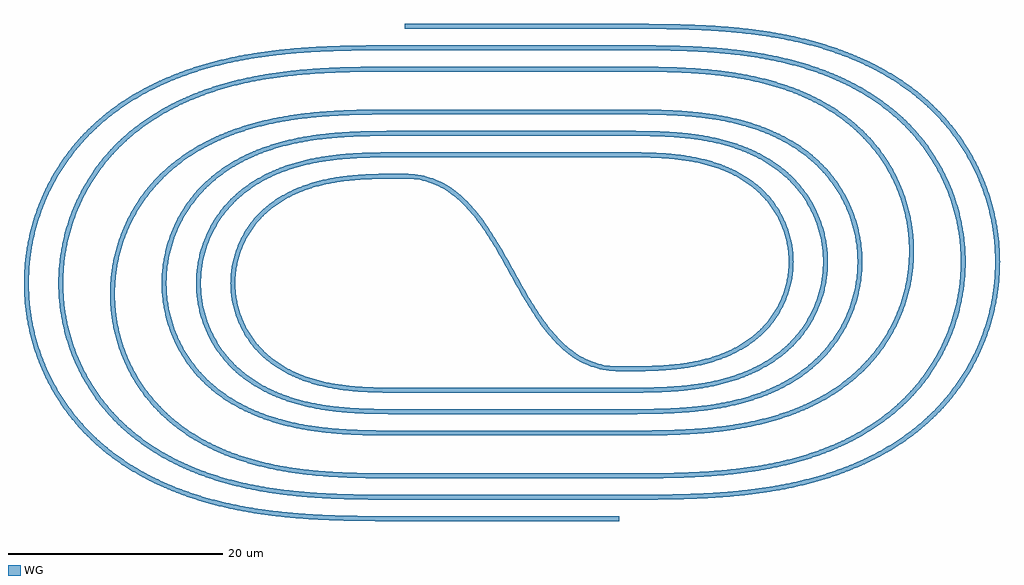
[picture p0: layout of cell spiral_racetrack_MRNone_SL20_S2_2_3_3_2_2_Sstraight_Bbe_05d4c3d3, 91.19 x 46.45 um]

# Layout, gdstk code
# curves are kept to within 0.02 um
from math import pi, radians
import gdstk
lib = gdstk.Library(unit=1e-6, precision=1e-09)
def R(c, l, rs):  # rectangles x0, y0, x1, y1
    for r in rs: c.add(gdstk.rectangle(r[:2], r[2:], *l))
def P(c, l, *ps):  # polygons
    for p in ps: c.add(gdstk.Polygon(p, *l))
WG = (3, 0)

bend_s_s20_m18_csstrip_w = lib.new_cell('bend_s_S20_m18_CSstrip_WNone_AMRVFalse')
P(bend_s_s20_m18_csstrip_w, WG, [(20,-18.225),(19.383,-18.202),(18.502,-18.085),(17.943,-17.955),(17.146,-17.685),(16.64,-17.458),(15.919,-17.054),(15.241,-16.58),(14.6,-16.041),(13.995,-15.445),(13.421,-14.798),(12.874,-14.108),(12.181,-13.129),(11.041,-11.298),(8.882,-7.467),(7.936,-5.879),(6.939,-4.396),(6.414,-3.71),(5.866,-3.068),(5.293,-2.476),(4.692,-1.942),(4.059,-1.469),(3.392,-1.064),(2.441,-0.639),(1.678,-0.413),(0.865,-0.273),(0,-0.225),(0,0.225),(0.617,0.202),(1.498,0.085),(2.057,-0.045),(2.854,-0.315),(3.36,-0.542),(4.081,-0.946),(4.759,-1.42),(5.4,-1.959),(6.005,-2.555),(6.579,-3.202),(7.126,-3.892),(7.819,-4.871),(8.959,-6.702),(11.118,-10.533),(12.064,-12.121),(13.061,-13.604),(13.586,-14.29),(14.134,-14.932),(14.707,-15.524),(15.308,-16.058),(15.941,-16.531),(16.608,-16.936),(17.559,-17.361),(18.322,-17.587),(19.135,-17.727),(20,-17.775)])

bend_euler_r10_a180_p0p5 = lib.new_cell('bend_euler_R10_A180_P0p5_WNone_CSstrip_AMRVFalse')
P(bend_euler_r10_a180_p0p5, WG, [(0,-0.225),(0,0.225),(2.605,0.248),(4.333,0.33),(6.047,0.513),(7.569,0.794),(8.564,1.057),(9.696,1.451),(10.784,1.947),(11.669,2.46),(12.498,3.055),(13.377,3.855),(14.141,4.764),(14.777,5.767),(15.273,6.846),(15.58,7.816),(15.774,8.815),(15.853,10),(15.774,11.185),(15.58,12.184),(15.273,13.154),(14.777,14.233),(14.141,15.236),(13.377,16.145),(12.498,16.945),(11.669,17.54),(10.784,18.053),(9.696,18.549),(8.564,18.943),(7.569,19.206),(6.047,19.487),(4.333,19.67),(2.605,19.752),(0,19.775),(0,20.225),(2.267,20.21),(4.191,20.131),(5.763,19.98),(7.153,19.755),(8.694,19.374),(9.863,18.967),(10.991,18.452),(12.061,17.821),(12.917,17.184),(13.576,16.584),(14.176,15.924),(14.709,15.21),(15.256,14.291),(15.628,13.481),(15.921,12.639),(16.133,11.773),(16.261,10.89),(16.303,10),(16.261,9.11),(16.133,8.227),(15.921,7.361),(15.628,6.519),(15.256,5.709),(14.709,4.79),(14.176,4.076),(13.701,3.543),(13.053,2.931),(12.354,2.381),(11.611,1.894),(10.833,1.467),(10.027,1.1),(9.199,0.788),(8.354,0.529),(7.498,0.317),(6.633,0.149),(5.414,-0.022),(4.365,-0.119),(2.966,-0.192)])

straight_l20_csstrip_wno = lib.new_cell('straight_L20_CSstrip_WNone_N2')
R(straight_l20_csstrip_wno, WG, [(0,-0.225,20,0.225)])

bend_euler_r12_a180_p0p5 = lib.new_cell('bend_euler_R12_A180_P0p5_WNone_CSstrip_AMRVFalse')
P(bend_euler_r12_a180_p0p5, WG, [(0,-0.225),(0,0.225),(3.108,0.252),(5.171,0.349),(7.05,0.541),(8.905,0.867),(10.393,1.257),(11.681,1.711),(12.921,2.276),(13.954,2.867),(15.058,3.657),(15.573,4.098),(16.061,4.571),(16.521,5.078),(16.948,5.613),(17.34,6.175),(17.695,6.76),(18.011,7.367),(18.288,7.993),(18.525,8.635),(18.72,9.291),(18.872,9.959),(18.981,10.634),(19.047,11.316),(19.069,12),(19.047,12.684),(18.981,13.366),(18.872,14.041),(18.72,14.709),(18.525,15.365),(18.288,16.007),(18.011,16.633),(17.695,17.24),(17.34,17.825),(16.948,18.387),(16.521,18.922),(16.061,19.429),(15.573,19.902),(15.058,20.343),(13.954,21.133),(12.921,21.724),(11.681,22.289),(10.393,22.743),(8.905,23.133),(7.05,23.459),(5.171,23.651),(3.108,23.748),(0,23.775),(0,24.225),(2.773,24.206),(5.03,24.112),(6.937,23.928),(8.66,23.645),(10.358,23.223),(11.848,22.706),(12.653,22.357),(13.282,22.043),(14.49,21.32),(15.34,20.693),(16.134,19.993),(16.979,19.077),(17.619,18.22),(18.173,17.305),(18.706,16.176),(19.059,15.166),(19.314,14.127),(19.467,13.069),(19.519,12),(19.467,10.931),(19.314,9.873),(19.059,8.834),(18.706,7.824),(18.173,6.695),(17.619,5.78),(16.979,4.923),(16.385,4.258),(15.612,3.532),(14.922,2.984),(13.895,2.302),(12.97,1.796),(12.011,1.36),(11.026,0.989),(10.021,0.68),(8.831,0.391),(7.801,0.198),(6.418,0.01),(5.204,-0.1),(3.814,-0.176)])

bend_euler_r14_a180_p0p5 = lib.new_cell('bend_euler_R14_A180_P0p5_WNone_CSstrip_AMRVFalse')
P(bend_euler_r14_a180_p0p5, WG, [(0,-0.225),(0,0.225),(3.611,0.256),(6.01,0.368),(8.223,0.593),(9.237,0.748),(10.41,0.978),(12.059,1.407),(13.665,1.971),(15.058,2.605),(16.382,3.366),(17.081,3.846),(17.749,4.366),(18.382,4.928),(18.865,5.411),(19.324,5.924),(19.857,6.6),(20.343,7.31),(20.695,7.902),(21.015,8.512),(21.366,9.298),(21.662,10.106),(21.859,10.766),(22.053,11.604),(22.189,12.454),(22.255,13.14),(22.284,14),(22.255,14.86),(22.189,15.546),(22.053,16.396),(21.859,17.234),(21.662,17.894),(21.366,18.702),(21.015,19.488),(20.695,20.098),(20.343,20.69),(19.857,21.4),(19.324,22.076),(18.865,22.589),(18.382,23.072),(17.749,23.634),(17.081,24.154),(16.382,24.634),(15.058,25.395),(13.665,26.029),(12.059,26.593),(10.41,27.022),(9.237,27.252),(8.223,27.407),(6.01,27.632),(3.611,27.744),(0,27.775),(0,28.225),(3.277,28.202),(5.869,28.093),(8.111,27.876),(9.996,27.569),(11.015,27.344),(12.023,27.073),(13.671,26.511),(14.476,26.173),(15.417,25.716),(16.18,25.289),(16.917,24.82),(18.037,23.98),(18.943,23.154),(19.782,22.23),(20.528,21.229),(21.174,20.161),(21.715,19.036),(22.144,17.864),(22.459,16.657),(22.656,15.424),(22.733,14.178),(22.69,12.931),(22.612,12.222),(22.494,11.518),(22.196,10.306),(21.783,9.128),(21.258,7.996),(20.528,6.771),(19.782,5.77),(19.068,4.973),(18.171,4.133),(17.346,3.482),(16.329,2.802),(15.262,2.204),(14.156,1.687),(12.853,1.19),(11.688,0.831),(10.167,0.466),(8.799,0.221),(7.423,0.043),(5.869,-0.093),(4.141,-0.179)])

bend_euler_r17_a180_p0p5 = lib.new_cell('bend_euler_R17_A180_P0p5_WNone_CSstrip_AMRVFalse')
P(bend_euler_r17_a180_p0p5, WG, [(0,-0.225),(0,0.225),(3.981,0.253),(7.087,0.384),(8.463,0.496),(9.833,0.651),(11.195,0.856),(12.378,1.082),(14.379,1.58),(15.363,1.888),(16.331,2.238),(17.125,2.563),(18.058,2.995),(18.967,3.474),(19.849,4.002),(20.698,4.579),(21.51,5.205),(22.281,5.881),(23.006,6.605),(23.68,7.377),(24.201,8.053),(24.775,8.902),(25.209,9.637),(25.601,10.396),(26.014,11.333),(26.363,12.296),(26.647,13.281),(26.832,14.114),(26.992,15.126),(27.084,16.147),(27.108,17),(27.084,17.853),(26.992,18.874),(26.832,19.886),(26.647,20.719),(26.363,21.704),(26.014,22.667),(25.601,23.604),(25.209,24.363),(24.775,25.098),(24.201,25.947),(23.68,26.623),(23.006,27.395),(22.281,28.119),(21.51,28.795),(20.698,29.421),(19.849,29.998),(18.967,30.526),(18.058,31.005),(17.125,31.437),(16.331,31.762),(15.363,32.112),(14.379,32.42),(12.378,32.918),(11.195,33.144),(9.833,33.349),(8.463,33.504),(7.087,33.616),(3.981,33.747),(0,33.775),(0,34.225),(3.991,34.197),(7.118,34.065),(9.545,33.839),(10.754,33.672),(12.129,33.429),(13.323,33.166),(14.505,32.852),(15.672,32.482),(16.656,32.118),(17.624,31.708),(18.57,31.25),(19.492,30.743),(20.385,30.186),(21.66,29.254),(22.843,28.205),(23.917,27.043),(24.868,25.78),(25.603,24.581),(26.297,23.159),(26.62,22.342),(26.844,21.675),(27.083,20.829),(27.239,20.144),(27.392,19.278),(27.478,18.58),(27.557,17.176),(27.495,15.595),(27.392,14.722),(27.274,14.029),(26.896,12.493),(26.62,11.658),(26.365,11.003),(25.687,9.574),(24.868,8.22),(24.029,7.092),(23.214,6.17),(22.198,5.198),(20.962,4.214),(19.643,3.346),(18.414,2.67),(17.142,2.081),(15.672,1.518),(14.168,1.053),(12.471,0.641),(10.754,0.328),(9.199,0.121),(7.291,-0.053),(5.38,-0.156),(2.949,-0.214)])

bend_euler_r20_a180_p0p5 = lib.new_cell('bend_euler_R20_A180_P0p5_WNone_CSstrip_AMRVFalse')
P(bend_euler_r20_a180_p0p5, WG, [(0,-0.225),(0,0.225),(4.638,0.257),(6.524,0.314),(8.236,0.405),(9.772,0.526),(11.304,0.692),(12.828,0.91),(14.341,1.186),(15.509,1.445),(16.665,1.746),(17.971,2.145),(19.095,2.545),(20.044,2.928),(21.282,3.498),(22.336,4.054),(23.214,4.575),(24.206,5.234),(25.156,5.95),(25.934,6.609),(26.796,7.431),(27.609,8.318),(28.361,9.257),(29.048,10.244),(29.584,11.126),(30.143,12.191),(30.63,13.291),(30.988,14.258),(31.335,15.41),(31.57,16.414),(31.77,17.601),(31.879,18.626),(31.931,19.828),(31.902,21.031),(31.813,22.058),(31.635,23.248),(31.378,24.423),(31.095,25.415),(30.694,26.549),(30.29,27.498),(29.751,28.574),(29.233,29.465),(28.564,30.466),(27.83,31.419),(27.034,32.321),(26.309,33.046),(25.419,33.835),(24.482,34.567),(23.501,35.243),(22.632,35.777),(21.586,36.349),(20.667,36.796),(19.572,37.268),(18.294,37.746),(17.32,38.062),(16.006,38.431),(14.676,38.744),(13.334,39.005),(11.813,39.241),(10.284,39.424),(8.578,39.571),(6.867,39.671),(5.153,39.731),(0,39.775),(0,40.225),(4.647,40.193),(6.715,40.128),(8.265,40.044),(9.814,39.922),(11.36,39.754),(12.9,39.534),(14.431,39.255),(15.782,38.952),(17.12,38.592),(18.441,38.171),(19.579,37.75),(20.855,37.204),(21.946,36.669),(23.157,35.989),(24.18,35.332),(25.026,34.722),(25.707,34.181),(26.993,33.009),(28.065,31.841),(28.615,31.153),(29.232,30.294),(29.707,29.552),(30.146,28.789),(30.549,28.005),(30.913,27.203),(31.238,26.384),(31.524,25.551),(31.77,24.705),(32.011,23.676),(32.166,22.808),(32.279,21.935),(32.351,21.057),(32.381,20.176),(32.368,19.295),(32.297,18.241),(32.192,17.366),(32.011,16.324),(31.77,15.295),(31.524,14.449),(31.238,13.616),(30.913,12.797),(30.549,11.995),(30.146,11.211),(29.707,10.448),(29.232,9.706),(28.289,8.431),(27.24,7.243),(26.104,6.158),(24.748,5.07),(23.892,4.475),(23.157,4.011),(21.637,3.172),(19.901,2.38),(18.277,1.773),(16.62,1.266),(14.601,0.78),(12.558,0.412),(10.673,0.165),(8.782,-0.008),(6.198,-0.149),(3.786,-0.208)])

bend_euler_r22_a180_p0p5 = lib.new_cell('bend_euler_R22_A180_P0p5_WNone_CSstrip_AMRVFalse')
P(bend_euler_r22_a180_p0p5, WG, [(0,-0.225),(0,0.225),(4.999,0.258),(7.407,0.333),(9.125,0.427),(11.009,0.581),(12.546,0.753),(14.245,1),(15.764,1.279),(17.269,1.617),(18.594,1.972),(19.902,2.381),(21.03,2.785),(22.297,3.304),(23.383,3.809),(24.593,4.447),(25.621,5.059),(26.755,5.822),(27.707,6.545),(28.616,7.319),(29.478,8.145),(30.289,9.022),(31.149,10.081),(31.934,11.197),(32.556,12.216),(33.19,13.424),(33.675,14.515),(34.094,15.633),(34.488,16.939),(34.759,18.102),(34.982,19.448),(35.1,20.636),(35.147,22),(35.1,23.364),(34.982,24.552),(34.759,25.898),(34.488,27.061),(34.094,28.367),(33.675,29.485),(33.19,30.576),(32.556,31.784),(31.934,32.803),(31.149,33.919),(30.289,34.978),(29.478,35.855),(28.616,36.681),(27.707,37.455),(26.755,38.178),(25.621,38.941),(24.593,39.553),(23.383,40.191),(22.297,40.696),(21.03,41.215),(19.902,41.619),(18.594,42.028),(17.269,42.383),(15.764,42.721),(14.245,43),(12.546,43.247),(11.009,43.419),(9.125,43.573),(7.407,43.667),(4.999,43.742),(0,43.775),(0,44.225),(5.008,44.192),(7.254,44.124),(9.155,44.022),(11.053,43.867),(12.603,43.693),(14.147,43.472),(15.853,43.162),(17.209,42.861),(18.886,42.412),(20.21,41.99),(21.676,41.445),(23.112,40.821),(24.356,40.197),(25.565,39.505),(26.589,38.844),(27.299,38.339),(28.259,37.585),(28.918,37.015),(29.676,36.294),(30.28,35.664),(30.967,34.875),(31.612,34.051),(32.214,33.194),(32.682,32.458),(33.282,31.394),(33.744,30.455),(34.092,29.655),(34.463,28.676),(34.783,27.68),(35.01,26.838),(35.234,25.815),(35.405,24.783),(35.522,23.743),(35.585,22.698),(35.596,21.826),(35.57,20.954),(35.489,19.91),(35.354,18.872),(35.165,17.843),(34.967,16.993),(34.682,15.986),(34.345,14.995),(33.957,14.023),(33.519,13.072),(33.117,12.298),(32.591,11.393),(32.019,10.517),(30.967,9.125),(29.799,7.83),(28.525,6.64),(27.852,6.085),(27.017,5.456),(25.416,4.405),(23.738,3.483),(21.998,2.687),(20.046,1.954),(18.05,1.353),(16.023,0.873),(13.976,0.501),(11.57,0.186),(9.155,-0.022),(6.909,-0.138),(4.316,-0.204)])

spiral_racetrack_mrnone_ = lib.new_cell('spiral_racetrack_MRNone_SL20_S2_2_3_3_2_2_Sstraight_Bbe_05d4c3d3')
spiral_racetrack_mrnone_.add(gdstk.Reference(bend_s_s20_m18_csstrip_w, (0,0)))
spiral_racetrack_mrnone_.add(gdstk.Reference(bend_euler_r10_a180_p0p5, (0,0), rotation=pi))
spiral_racetrack_mrnone_.add(gdstk.Reference(straight_l20_csstrip_wno, (0,-20)))
spiral_racetrack_mrnone_.add(gdstk.Reference(bend_euler_r12_a180_p0p5, (20,-20)))
spiral_racetrack_mrnone_.add(gdstk.Reference(straight_l20_csstrip_wno, (20,4), rotation=pi))
spiral_racetrack_mrnone_.add(gdstk.Reference(bend_euler_r14_a180_p0p5, (0,4), rotation=pi))
spiral_racetrack_mrnone_.add(gdstk.Reference(straight_l20_csstrip_wno, (0,-24)))
spiral_racetrack_mrnone_.add(gdstk.Reference(bend_euler_r17_a180_p0p5, (20,-24)))
spiral_racetrack_mrnone_.add(gdstk.Reference(straight_l20_csstrip_wno, (20,10), rotation=pi))
spiral_racetrack_mrnone_.add(gdstk.Reference(bend_euler_r20_a180_p0p5, (0,10), rotation=pi))
spiral_racetrack_mrnone_.add(gdstk.Reference(straight_l20_csstrip_wno, (0,-30)))
spiral_racetrack_mrnone_.add(gdstk.Reference(bend_euler_r22_a180_p0p5, (20,-30)))
spiral_racetrack_mrnone_.add(gdstk.Reference(straight_l20_csstrip_wno, (20,14), rotation=pi))
spiral_racetrack_mrnone_.add(gdstk.Reference(bend_euler_r10_a180_p0p5, (20,-18)))
spiral_racetrack_mrnone_.add(gdstk.Reference(straight_l20_csstrip_wno, (20,2), rotation=pi))
spiral_racetrack_mrnone_.add(gdstk.Reference(bend_euler_r12_a180_p0p5, (0,2), rotation=pi))
spiral_racetrack_mrnone_.add(gdstk.Reference(straight_l20_csstrip_wno, (0,-22)))
spiral_racetrack_mrnone_.add(gdstk.Reference(bend_euler_r14_a180_p0p5, (20,-22)))
spiral_racetrack_mrnone_.add(gdstk.Reference(straight_l20_csstrip_wno, (20,6), rotation=pi))
spiral_racetrack_mrnone_.add(gdstk.Reference(bend_euler_r17_a180_p0p5, (0,6), rotation=pi))
spiral_racetrack_mrnone_.add(gdstk.Reference(straight_l20_csstrip_wno, (0,-28)))
spiral_racetrack_mrnone_.add(gdstk.Reference(bend_euler_r20_a180_p0p5, (20,-28)))
spiral_racetrack_mrnone_.add(gdstk.Reference(straight_l20_csstrip_wno, (20,12), rotation=pi))
spiral_racetrack_mrnone_.add(gdstk.Reference(bend_euler_r22_a180_p0p5, (0,12), rotation=pi))
spiral_racetrack_mrnone_.add(gdstk.Reference(straight_l20_csstrip_wno, (0,-32)))

lib.write_gds('spiral_racetrack_MRNone_SL20_S2_2_3_3_2_2_Sstraight_Bbe_05d4c3d3.gds')
